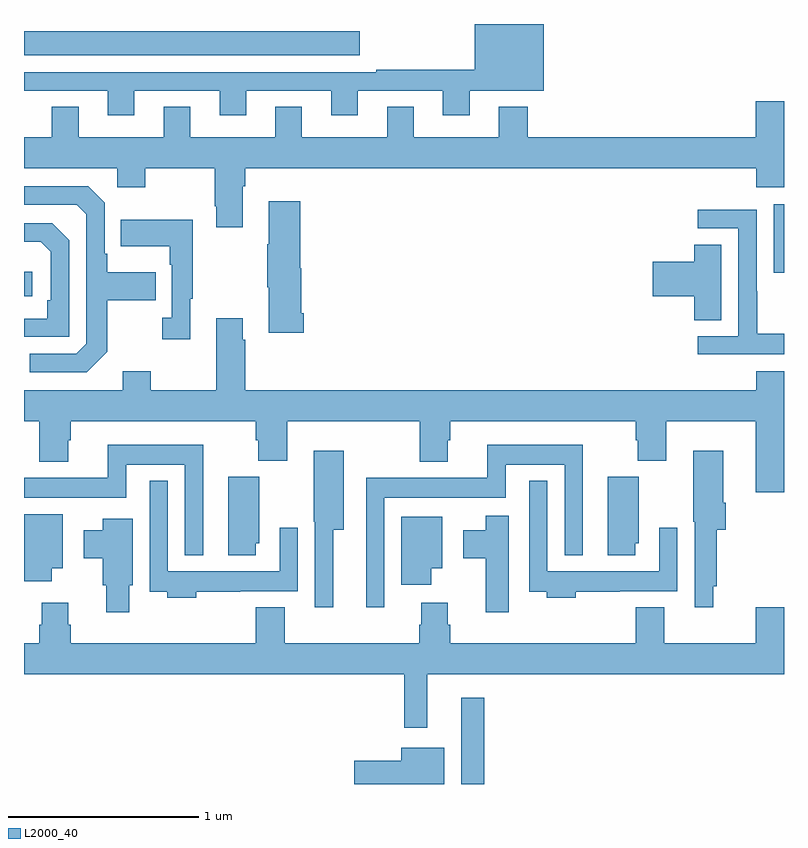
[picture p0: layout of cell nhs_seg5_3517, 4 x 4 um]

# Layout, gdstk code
import gdstk
lib = gdstk.Library(unit=1e-6, precision=1e-09)
def R(c, l, rs):  # rectangles x0, y0, x1, y1
    for r in rs: c.add(gdstk.rectangle(r[:2], r[2:], *l))
def P(c, l, *ps):  # polygons
    for p in ps: c.add(gdstk.Polygon(p, *l))
L2000_40 = (2000, 40)

nhs_seg5_3517 = lib.new_cell('nhs_seg5_3517')
R(nhs_seg5_3517, L2000_40, [(319.301,906.799,319.423,907.252), (317,909.366,317.044,909.496), (320.945,909.489,321,909.85), (317,910.634,318.766,910.762)])
P(nhs_seg5_3517, L2000_40, [(317.581,910.449),(318.029,910.449),(318.029,910.32),(318.169,910.32),(318.169,910.449),(318.617,910.449),(318.617,910.32),(318.757,910.32),(318.757,910.449),(319.205,910.449),(319.205,910.32),(319.345,910.32),(319.345,910.448),(319.735,910.448),(319.735,910.799),(319.373,910.799),(319.373,910.558),(318.853,910.558),(318.853,910.545),(317,910.545),(317,910.449),(317.441,910.449),(317.441,910.32),(317.581,910.32)],
  [(318.151,909.944),(318.164,909.944),(318.164,910.04),(320.855,910.04),(320.855,909.941),(321,909.941),(321,910.393),(320.852,910.393),(320.852,910.204),(319.652,910.204),(319.652,910.363),(319.499,910.363),(319.499,910.204),(319.051,910.204),(319.051,910.364),(318.911,910.364),(318.911,910.204),(318.463,910.204),(318.463,910.364),(318.323,910.364),(318.323,910.204),(317.875,910.204),(317.875,910.364),(317.735,910.364),(317.735,910.204),(317.287,910.204),(317.287,910.364),(317.147,910.364),(317.147,910.204),(317,910.204),(317,910.04),(317.49,910.04),(317.49,909.941),(317.637,909.941),(317.637,910.04),(318.004,910.04),(318.004,909.841),(318.011,909.841),(318.011,909.729),(318.151,909.729)],
  [(317.437,909.073),(317.437,909.346),(317.693,909.346),(317.693,909.493),(317.437,909.493),(317.437,909.589),(317.424,909.589),(317.424,909.858),(317.337,909.945),(317.001,909.945),(317.001,909.849),(317.277,909.849),(317.328,909.798),(317.328,909.117),(317.274,909.063),(317.031,909.063),(317.031,908.967),(317.331,908.967)],
  [(318.473,909.277),(318.46,909.277),(318.46,909.513),(318.455,909.513),(318.455,909.865),(318.287,909.865),(318.287,909.641),(318.28,909.641),(318.28,909.413),(318.287,909.413),(318.287,909.173),(318.473,909.173)],
  [(321,909.169),(320.859,909.169),(320.859,909.392),(320.856,909.392),(320.856,909.822),(320.547,909.822),(320.547,909.723),(320.76,909.723),(320.76,909.156),(320.547,909.156),(320.547,909.06),(321,909.06)],
  [(317.875,909.353),(317.887,909.353),(317.887,909.769),(317.509,909.769),(317.509,909.629),(317.766,909.629),(317.766,909.533),(317.778,909.533),(317.778,909.254),(317.727,909.254),(317.727,909.141),(317.875,909.141)],
  [(317.238,909.66),(317.148,909.75),(317,909.75),(317,909.653),(317.089,909.653),(317.142,909.6),(317.142,909.346),(317.122,909.346),(317.122,909.249),(317,909.249),(317,909.153),(317.238,909.153)],
  [(320.671,909.638),(320.528,909.638),(320.528,909.548),(320.31,909.548),(320.31,909.365),(320.528,909.365),(320.528,909.241),(320.671,909.241)],
  [(318.011,909.25),(318.011,908.872),(317.667,908.872),(317.667,908.971),(317.519,908.971),(317.519,908.872),(317,908.872),(317,908.708),(317.081,908.708),(317.081,908.495),(317.233,908.495),(317.233,908.607),(317.246,908.607),(317.246,908.708),(318.221,908.708),(318.221,908.609),(318.233,908.609),(318.233,908.5),(318.386,908.5),(318.386,908.708),(319.084,908.708),(319.084,908.495),(319.231,908.495),(319.231,908.607),(319.244,908.607),(319.244,908.708),(320.219,908.708),(320.219,908.609),(320.231,908.609),(320.231,908.5),(320.379,908.5),(320.379,908.708),(320.852,908.708),(320.852,908.334),(321,908.334),(321,908.971),(320.855,908.971),(320.855,908.872),(318.164,908.872),(318.164,909.137),(318.151,909.137),(318.151,909.25)],
  [(317.944,908.584),(317.441,908.584),(317.441,908.41),(317,908.41),(317,908.306),(317.538,908.306),(317.538,908.48),(317.847,908.48),(317.847,908.003),(317.944,908.003)],
  [(318.897,908.306),(319.536,908.306),(319.536,908.48),(319.845,908.48),(319.845,908.003),(319.942,908.003),(319.942,908.584),(319.439,908.584),(319.439,908.41),(318.801,908.41),(318.801,908.078),(318.8,908.078),(318.8,907.728),(318.897,907.728)],
  [(318.628,908.138),(318.682,908.138),(318.682,908.554),(318.524,908.554),(318.524,908.178),(318.531,908.178),(318.531,907.728),(318.628,907.728)],
  [(320.628,907.84),(320.645,907.84),(320.645,908.138),(320.693,908.138),(320.693,908.278),(320.68,908.278),(320.68,908.554),(320.522,908.554),(320.522,908.178),(320.529,908.178),(320.529,907.728),(320.628,907.728)],
  [(318.22,908.067),(318.238,908.067),(318.238,908.415),(318.074,908.415),(318.074,908.004),(318.22,908.004)],
  [(320.218,908.067),(320.236,908.067),(320.236,908.415),(320.072,908.415),(320.072,908.004),(320.218,908.004)],
  [(317.906,907.812),(318.137,907.812),(318.137,907.814),(318.441,907.814),(318.441,908.149),(318.345,908.149),(318.345,907.918),(317.757,907.918),(317.757,908.395),(317.661,908.395),(317.661,907.812),(317.753,907.812),(317.753,907.778),(317.906,907.778)],
  [(319.904,907.812),(320.135,907.812),(320.135,907.814),(320.439,907.814),(320.439,908.149),(320.343,908.149),(320.343,907.918),(319.755,907.918),(319.755,908.395),(319.659,908.395),(319.659,907.812),(319.751,907.812),(319.751,907.778),(319.904,907.778)],
  [(317.146,907.934),(317.203,907.934),(317.203,908.218),(317,908.218),(317,907.866),(317.146,907.866)],
  [(319.552,908.212),(319.43,908.212),(319.43,908.134),(319.313,908.134),(319.313,907.987),(319.43,907.987),(319.43,907.704),(319.552,907.704)],
  [(319.144,907.934),(319.201,907.934),(319.201,908.206),(318.986,908.206),(318.986,907.848),(319.144,907.848)],
  [(317.554,907.845),(317.572,907.845),(317.572,908.194),(317.414,908.194),(317.414,908.134),(317.315,908.134),(317.315,907.987),(317.414,907.987),(317.414,907.845),(317.432,907.845),(317.432,907.704),(317.554,907.704)],
  [(319.123,907.376),(321,907.376),(321,907.729),(320.852,907.729),(320.852,907.54),(320.371,907.54),(320.371,907.729),(320.219,907.729),(320.219,907.54),(319.244,907.54),(319.244,907.638),(319.231,907.638),(319.231,907.753),(319.091,907.753),(319.091,907.638),(319.079,907.638),(319.079,907.54),(318.373,907.54),(318.373,907.729),(318.221,907.729),(318.221,907.54),(317.246,907.54),(317.246,907.638),(317.233,907.638),(317.233,907.753),(317.093,907.753),(317.093,907.638),(317.081,907.638),(317.081,907.54),(317,907.54),(317,907.376),(319.002,907.376),(319.002,907.095),(319.123,907.095)],
  [(319.213,906.991),(318.986,906.991),(318.986,906.921),(318.738,906.921),(318.738,906.799),(319.213,906.799)])

lib.write_gds('nhs_seg5_3517.gds')
